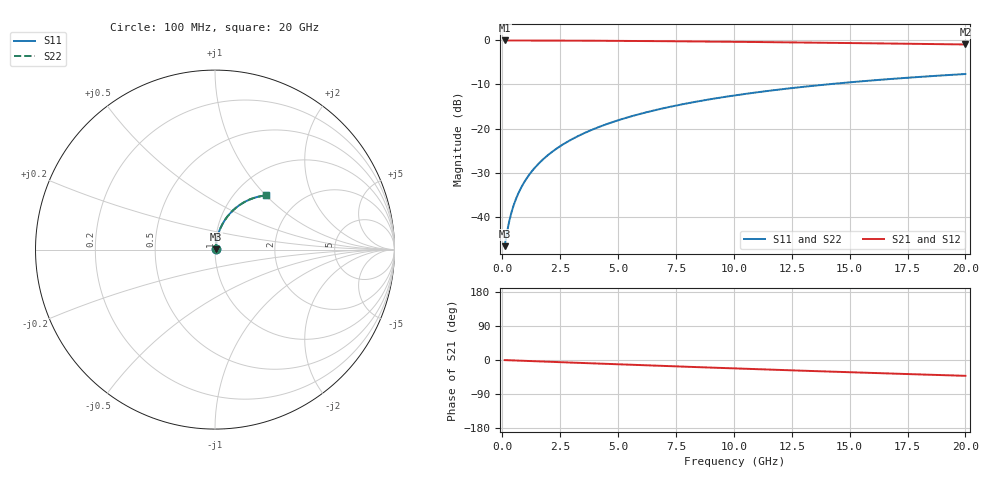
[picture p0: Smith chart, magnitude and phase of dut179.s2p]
! Touchstone file exported from HFSS 2026.1.0
!  File:  C:/ffzhzh/LocalFiles/Ansys_Project_Files/temp_train_BSMRDL_179_1782987161_45328.aedt
!  Generated:  06:14:03 PM Jul  2, 2026
!  Design:  BSMRDL
!  Project:  temp_train_BSMRDL_179_1782987161_45328
! Variables:
!  h_bsmrdl = 3.4um
!  h_ox = 20um
!  h_rdl = 5um
!  h_sub = 80um
!  h_tmrdl = 5um
!  h_tsv = 80um
!  h_via = 3um
!  l_bsmrdl = 588.83um
!  l_sub = 988.83um
!  l_tmrdl = 200um
!  m_sub = 200um
!  pitch = 44.05um
!  r_tsv = 6um
!  s_tmrdl = 10um
!  w_bsmrdl = 16.69um
!  w_sub = 500um
!  w_tmrdl = 12um
!  x_tsv_center1 = 206um
!  x_tsv_center2 = 811.52um
!  x_tsv_center3 = 1023.52um
!  x_tsv_center4 = 1629.04um
!  x_tsv_center5 = 1841.04um
!  x_tsv_center6 = 2446.56um
# GHz S MA R 50.000000
! Terminal data exported
! Port[1] = BSM_RDL1_1_T1
! Port[2] = BSM_RDL1_1_T2
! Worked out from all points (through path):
!   200 points, 100 MHz to 20 GHz, reference 50 ohm
!   highest |S21| = -0.03 dB at 100 MHz (marker M1); lowest = -0.9 dB at 20 GHz (marker M2)
!   group delay of S21, straight-line fit = 5.81 ps
!   lowest |S11| = -46.6 dB at 100 MHz (marker M3), VSWR 1.01, Z = 50.4 + j0.273 ohm
!   |S11| at or under -10 dB: start of sweep to 13.99 GHz
!   |S22| runs from -46.6 to -7.6 dB; largest |S21 - S12| = 3e-15
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0.1  0.004682 35.3  0.9962 -0.2  0.9962 -0.2  0.004682 35.3
! Gamma 0 0 0 0
! Port Impedance 50 0 50 0
0.2  0.006669 53.6  0.9961 -0.5  0.9961 -0.5  0.006669 53.6
0.3  0.008986 62.6  0.9959 -0.7  0.9959 -0.7  0.008986 62.6
0.4  0.01139 67.6  0.9958 -0.9  0.9958 -0.9  0.01139 67.6
0.5  0.01382 70.8  0.9956 -1.2  0.9956 -1.2  0.01382 70.8
0.6  0.01627 73.0  0.9955 -1.4  0.9955 -1.4  0.01627 73.0
0.8  0.02117 75.8  0.9953 -1.9  0.9953 -1.9  0.02117 75.8
1.1  0.02858 78.1  0.995 -2.5  0.995 -2.5  0.02858 78.1
1.3  0.03354 78.9  0.9947 -3.0  0.9947 -3.0  0.03354 78.9
1.6  0.041 79.5  0.9943 -3.7  0.9943 -3.7  0.041 79.5
2.1  0.05344 79.8  0.9936 -4.8  0.9936 -4.8  0.05344 79.8
2.7  0.06834 79.4  0.9924 -6.2  0.9924 -6.2  0.06834 79.4
3.5  0.08808 78.4  0.9905 -8.0  0.9905 -8.0  0.08808 78.4
4.2  0.1052 77.2  0.9885 -9.5  0.9885 -9.5  0.1052 77.2
5  0.1244 75.7  0.9858 -11.3  0.9858 -11.3  0.1244 75.7
5.9  0.1458 73.9  0.9824 -13.3  0.9824 -13.3  0.1458 73.9
6.8  0.1667 72.1  0.9785 -15.3  0.9785 -15.3  0.1666 72.1
8.3  0.2005 69.1  0.9713 -18.5  0.9713 -18.5  0.2005 69.1
10.1  0.2393 65.4  0.9616 -22.4  0.9616 -22.4  0.2393 65.4
13.4  0.3052 58.9  0.9416 -29.1  0.9416 -29.1  0.3052 58.9
16.7  0.364 52.6  0.9199 -35.6  0.9199 -35.6  0.3639 52.6
20  0.4155 46.6  0.8975 -41.7  0.8975 -41.7  0.4155 46.6
